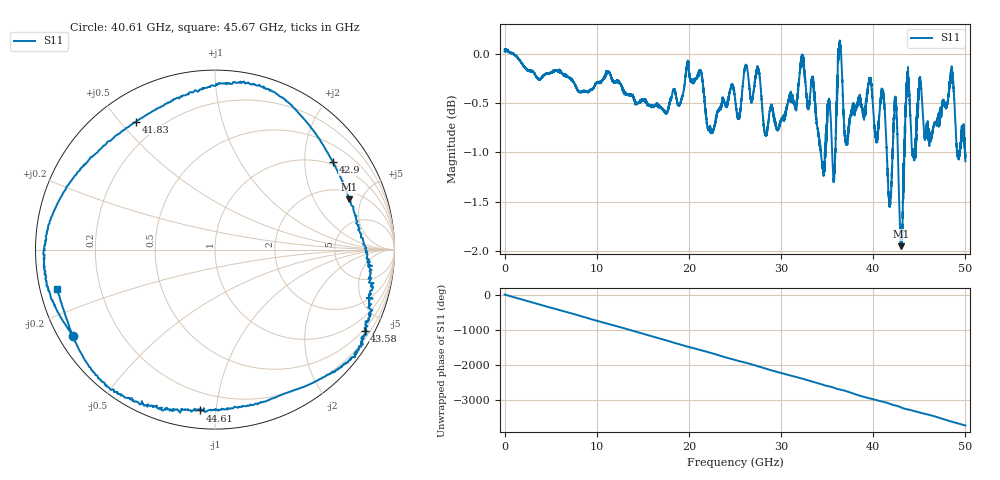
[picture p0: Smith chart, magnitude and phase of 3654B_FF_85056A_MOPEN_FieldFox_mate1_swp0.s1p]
!Created with skrf (http://scikit-rf.org).
# Hz S RI R 50.0
!freq ReS11 ImS11
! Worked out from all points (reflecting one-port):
!   10001 points, 300 kHz to 50 GHz, reference 50 ohm
!   lowest |S11| = -1.9 dB at 43.04 GHz (marker M1), VSWR 8.95, Z = 128 + j198 ohm
!   phase of S11 starts at 0 deg and turns -3733 deg over the sweep
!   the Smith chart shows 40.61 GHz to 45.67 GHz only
!   S11 on the Smith chart (normalised r, x): 40.61 GHz: 0.04, -0.28; 41.83 GHz: 0.12, +0.55; 42.9 GHz: 0.94, +2.75; 43.58 GHz: 0.42, -3.87; 44.61 GHz: 0.10, -0.91; 45.67 GHz: 0.05, -0.12
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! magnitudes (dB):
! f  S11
! 300 kHz  0.0
! 6.25 GHz  -0.2
! 12.5 GHz  -0.3
! 18.75 GHz  -0.5
! 25 GHz  -0.5
! 31.25 GHz  -0.4
! 32.32 GHz  -0.1
! 34.48 GHz  -1.1
! 35.19 GHz  -0.5
! 35.7 GHz  -1.3
! 36.38 GHz  0.1
! 37 GHz  -0.9
! 37.5 GHz  -0.7
! 39.61 GHz  -0.3
! 40.61 GHz  -0.7
! 41.08 GHz  -0.4
! 41.83 GHz  -1.5
! 42.41 GHz  -0.5
! 42.9 GHz  -1.7
! 43.04 GHz  -1.9
! 43.58 GHz  -0.4
! 43.75 GHz  -0.3
! 44.61 GHz  -0.9
! 45.07 GHz  -0.3
! 45.67 GHz  -0.8
! 48.5 GHz  -0.2
! 49.18 GHz  -1.0
! 50 GHz  -1.1
